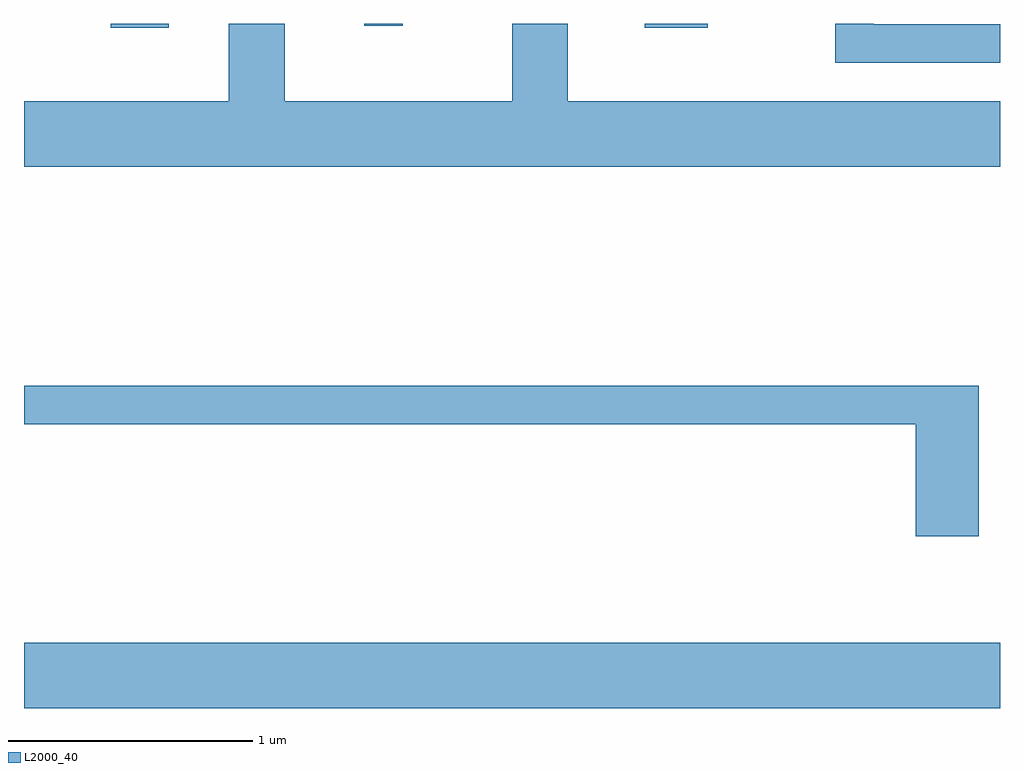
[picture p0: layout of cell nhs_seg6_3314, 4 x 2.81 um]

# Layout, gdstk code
import gdstk
lib = gdstk.Library(unit=1e-6, precision=1e-09)
def R(c, l, rs):  # rectangles x0, y0, x1, y1
    for r in rs: c.add(gdstk.rectangle(r[:2], r[2:], *l))
def P(c, l, *ps):  # polygons
    for p in ps: c.add(gdstk.Polygon(p, *l))
L2000_40 = (2000, 40)

nhs_seg6_3314 = lib.new_cell('nhs_seg6_3314')
R(nhs_seg6_3314, L2000_40, [(285.611,1563.356,289.611,1563.624), (285.966,1566.146,286.204,1566.162), (288.156,1566.146,288.414,1566.162), (287.006,1566.153,287.164,1566.162)])
P(nhs_seg6_3314, L2000_40, [(289.611,1565.844),(287.839,1565.844),(287.839,1566.162),(287.611,1566.162),(287.611,1565.844),(286.679,1565.844),(286.679,1566.162),(286.451,1566.162),(286.451,1565.844),(285.611,1565.844),(285.611,1565.576),(289.611,1565.576)],
  [(289.611,1566.159),(289.094,1566.159),(289.094,1566.162),(288.936,1566.162),(288.936,1566.001),(289.611,1566.001)],
  [(289.524,1564.679),(285.611,1564.679),(285.611,1564.521),(289.266,1564.521),(289.266,1564.061),(289.524,1564.061)])

lib.write_gds('nhs_seg6_3314.gds')
